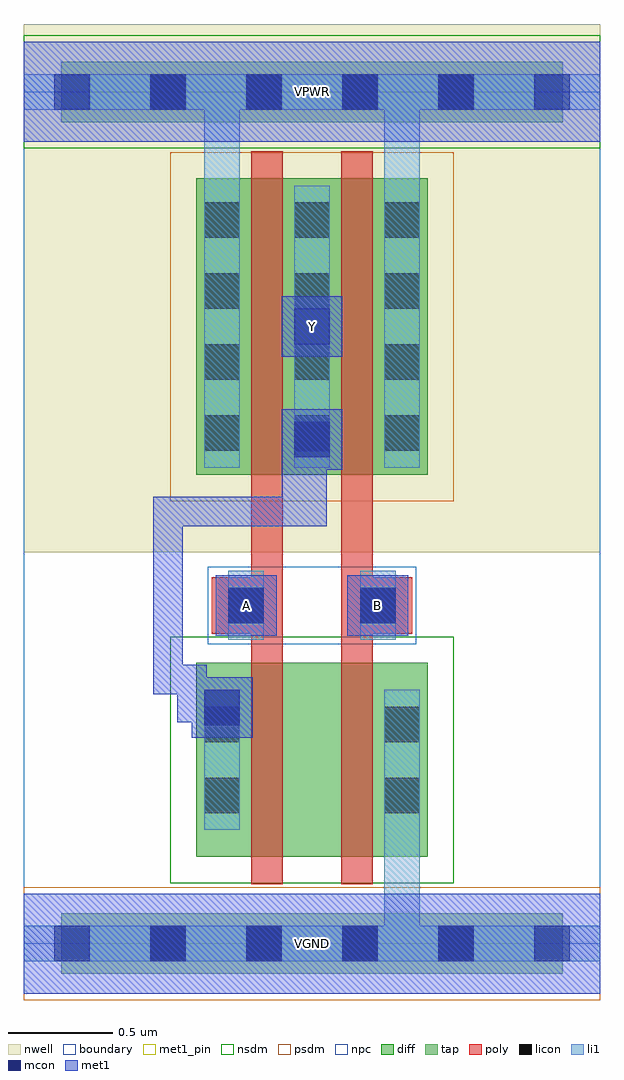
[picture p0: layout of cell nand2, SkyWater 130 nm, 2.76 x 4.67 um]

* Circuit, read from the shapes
.subckt nand2 A B VGND VPWR Y
XM1 n1 A Y VGND sky130_fd_pr__nfet_01v8 w=0.93 l=0.15
XM2 VGND B n1 VGND sky130_fd_pr__nfet_01v8 w=0.93 l=0.15
XM3 Y A VPWR VPWR sky130_fd_pr__pfet_01v8 w=1.42 l=0.15
XM4 VPWR B Y VPWR sky130_fd_pr__pfet_01v8 w=1.42 l=0.15
.ends

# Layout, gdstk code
import gdstk
lib = gdstk.Library(unit=1e-6, precision=1e-09)
def R(c, l, rs):  # rectangles x0, y0, x1, y1
    for r in rs: c.add(gdstk.rectangle(r[:2], r[2:], *l))
def A(c, l, x, y, w, h, nx, ny, dx, dy):  # array of equal rectangles
    R(c, l, [(x+i*dx, y+j*dy, x+i*dx+w, y+j*dy+h) for i in range(nx) for j in range(ny)])
nwell = (64, 20)
diff = (65, 20)
tap = (65, 44)
poly = (66, 20)
licon = (66, 44)
li1 = (67, 20)
mcon = (67, 44)
met1_pin = (68, 16)
met1 = (68, 20)
nsdm = (93, 44)
psdm = (94, 20)
npc = (95, 20)
boundary = (235, 4)

nand2 = lib.new_cell('nand2')
R(nand2, nwell, [(0,1.875,2.76,4.405)])
R(nand2, diff, [(0.825,0.415,1.935,1.345), (0.825,2.245,1.935,3.665)])
R(nand2, tap, [(0.18,-0.145,2.58,0.145), (0.18,3.935,2.58,4.225)])
R(nand2, poly, [(1.09,0.285,1.24,3.795), (1.52,0.285,1.67,3.795), (0.9,1.485,1.23,1.755), (1.53,1.485,1.86,1.755)])
A(nand2, licon, 0.605, -0.085, 0.17, 0.17, 4, 2, 0.46, 4.08)
A(nand2, licon, 0.865, 2.36, 0.17, 0.17, 3, 4, 0.43, 0.34)
R(nand2, licon, [(0.865,0.625,1.035,0.795), (1.725,0.625,1.895,0.795), (0.865,0.965,1.035,1.135), (1.725,0.965,1.895,1.135), (0.98,1.535,1.15,1.705), (1.61,1.535,1.78,1.705)])
A(nand2, li1, 0.865, 2.28, 0.17, 1.35, 3, 1, 0.43, 0)
R(nand2, li1, [(0,-0.085,2.76,0.085), (1.725,-0.085,1.895,1.215), (0.865,0.545,1.035,1.215), (1.725,0.545,1.895,1.215), (0.98,1.455,1.15,1.785), (1.61,1.455,1.78,1.785), (0.865,2.28,1.035,4.165), (1.725,2.28,1.895,4.165), (0,3.995,2.76,4.165)])
A(nand2, mcon, 0.145, -0.085, 0.17, 0.17, 6, 2, 0.46, 4.08)
R(nand2, mcon, [(0.865,1.045,1.035,1.215), (0.98,1.535,1.15,1.705), (1.61,1.535,1.78,1.705), (1.295,2.33,1.465,2.5), (1.295,2.87,1.465,3.04)])
R(nand2, met1_pin, [(0,-0.24,2.76,0.24), (0.92,1.475,1.21,1.765), (1.55,1.475,1.84,1.765), (1.235,2.81,1.525,3.1), (0,3.84,2.76,4.32)])
R(nand2, met1, [(0,-0.24,2.76,0.24), (0.805,0.985,1.095,1.275), (0.735,1.06,1.02,1.2), (0.735,1.06,0.875,1.335), (0.62,1.195,0.76,2.14), (0.62,1.195,0.875,1.335), (0.92,1.475,1.21,1.765), (1.55,1.475,1.84,1.765), (0.62,2,1.45,2.14), (1.31,2,1.45,2.485), (1.235,2.14,1.45,2.27), (1.235,2.27,1.525,2.56), (1.235,2.81,1.525,3.1), (0,3.84,2.76,4.32)])
R(nand2, nsdm, [(0.7,0.29,2.06,1.47), (0,3.81,2.76,4.35)])
R(nand2, psdm, [(0,-0.27,2.76,0.27), (0.7,2.12,2.06,3.79)])
R(nand2, npc, [(0.88,1.435,1.88,1.805)])
R(nand2, boundary, [(0,0,2.76,4.08)])
nand2.add(gdstk.Label('A', (1.065,1.62), layer=68, texttype=5))
nand2.add(gdstk.Label('B', (1.695,1.62), layer=68, texttype=5))
nand2.add(gdstk.Label('Y', (1.38,2.955), layer=68, texttype=5))
nand2.add(gdstk.Label('VPWR', (1.38,4.08), layer=68, texttype=5))
nand2.add(gdstk.Label('VGND', (1.38,0), layer=68, texttype=5))
nand2.add(gdstk.Label('A', (1.065,1.62), layer=68, texttype=16))
nand2.add(gdstk.Label('B', (1.695,1.62), layer=68, texttype=16))
nand2.add(gdstk.Label('Y', (1.38,2.955), layer=68, texttype=16))
nand2.add(gdstk.Label('VPWR', (1.38,4.08), layer=68, texttype=16))
nand2.add(gdstk.Label('VGND', (1.38,0), layer=68, texttype=16))

lib.write_gds('nand2.gds')
